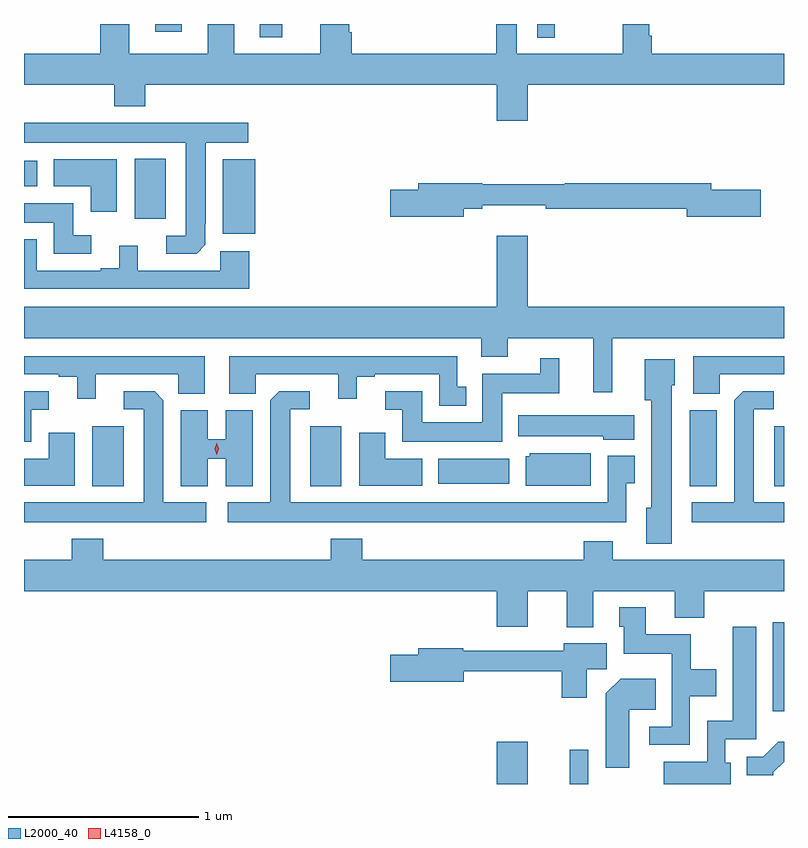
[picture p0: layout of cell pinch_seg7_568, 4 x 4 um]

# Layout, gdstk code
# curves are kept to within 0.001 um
import gdstk
lib = gdstk.Library(unit=1e-6, precision=1e-09)
def R(c, l, rs):  # rectangles x0, y0, x1, y1
    for r in rs: c.add(gdstk.rectangle(r[:2], r[2:], *l))
def P(c, l, *ps):  # polygons
    for p in ps: c.add(gdstk.Polygon(p, *l))
L2000_40 = (2000, 40)
L4158_0 = (4158, 0)

pinch_seg7_568 = lib.new_cell('pinch_seg7_568')
R(pinch_seg7_568, L2000_40, [(212.96,1044.889,213.124,1045.111), (213.346,1044.889,213.444,1045.069), (214.415,1045.272,214.473,1045.741), (210.833,1046.456,210.997,1046.773), (211.979,1046.456,212.143,1046.773), (213.977,1046.456,214.12,1046.857), (214.421,1046.456,214.473,1046.773), (212.654,1046.468,213.028,1046.602), (211.52,1047.785,211.691,1048.177), (211.055,1047.864,211.219,1048.18), (210.473,1048.034,210.544,1048.168), (213.174,1048.817,213.267,1048.889), (211.715,1048.818,211.831,1048.889), (211.163,1048.848,211.303,1048.889)])
P(pinch_seg7_568, L2000_40, [(213.124,1048.568),(214.473,1048.568),(214.473,1048.732),(213.776,1048.732),(213.776,1048.828),(213.763,1048.828),(213.763,1048.889),(213.623,1048.889),(213.623,1048.732),(213.066,1048.732),(213.066,1048.889),(212.958,1048.889),(212.958,1048.732),(212.198,1048.732),(212.198,1048.845),(212.185,1048.845),(212.185,1048.889),(212.033,1048.889),(212.033,1048.732),(211.579,1048.732),(211.579,1048.889),(211.439,1048.889),(211.439,1048.732),(211.027,1048.732),(211.027,1048.889),(210.875,1048.889),(210.875,1048.732),(210.473,1048.732),(210.473,1048.568),(210.947,1048.568),(210.947,1048.457),(211.112,1048.457),(211.112,1048.568),(212.96,1048.568),(212.96,1048.38),(213.124,1048.38)],
  [(211.428,1047.727),(211.429,1048.265),(211.654,1048.265),(211.654,1048.369),(210.473,1048.369),(210.473,1048.265),(211.325,1048.265),(211.325,1047.774),(211.221,1047.774),(211.221,1047.681),(211.382,1047.681)],
  [(210.961,1048.177),(210.629,1048.177),(210.629,1048.034),(210.824,1048.034),(210.824,1047.9),(210.961,1047.9)],
  [(212.788,1047.916),(212.884,1047.916),(212.884,1047.935),(213.22,1047.935),(213.22,1047.916),(213.962,1047.916),(213.962,1047.874),(214.351,1047.874),(214.351,1048.016),(214.09,1048.016),(214.09,1048.052),(213.32,1048.052),(213.32,1048.045),(212.884,1048.045),(212.884,1048.052),(212.549,1048.052),(212.549,1048.016),(212.4,1048.016),(212.4,1047.874),(212.788,1047.874)],
  [(210.826,1047.777),(210.733,1047.777),(210.733,1047.946),(210.473,1047.946),(210.473,1047.842),(210.629,1047.842),(210.629,1047.681),(210.826,1047.681)],
  [(213.568,1047.236),(214.473,1047.236),(214.473,1047.4),(213.124,1047.4),(213.124,1047.775),(212.96,1047.775),(212.96,1047.4),(210.473,1047.4),(210.473,1047.236),(212.879,1047.236),(212.879,1047.137),(213.019,1047.137),(213.019,1047.236),(213.47,1047.236),(213.47,1046.952),(213.568,1046.952)],
  [(211.658,1047.694),(211.506,1047.694),(211.506,1047.591),(211.072,1047.591),(211.072,1047.721),(210.974,1047.721),(210.974,1047.603),(210.878,1047.603),(210.878,1047.591),(210.54,1047.591),(210.54,1047.757),(210.473,1047.757),(210.473,1047.495),(211.658,1047.495)],
  [(214.134,1047.045),(214.473,1047.045),(214.473,1047.141),(213.995,1047.141),(213.995,1046.942),(214.134,1046.942)],
  [(212.8,1046.979),(212.754,1046.979),(212.754,1047.141),(211.553,1047.141),(211.553,1046.942),(211.692,1046.942),(211.692,1047.045),(212.126,1047.045),(212.126,1046.916),(212.224,1046.916),(212.224,1047.033),(212.32,1047.033),(212.32,1047.045),(212.658,1047.045),(212.658,1046.879),(212.8,1046.879)],
  [(210.85,1047.045),(211.284,1047.045),(211.284,1046.942),(211.423,1046.942),(211.423,1047.141),(210.473,1047.141),(210.473,1047.045),(210.656,1047.045),(210.656,1047.033),(210.752,1047.033),(210.752,1046.916),(210.85,1046.916)],
  [(212.989,1046.945),(213.29,1046.945),(213.29,1047.13),(213.191,1047.13),(213.191,1047.049),(212.885,1047.049),(212.885,1046.794),(212.569,1046.794),(212.569,1046.955),(212.373,1046.955),(212.373,1046.859),(212.465,1046.859),(212.465,1046.69),(212.989,1046.69)],
  [(213.883,1046.988),(213.898,1046.988),(213.898,1047.124),(213.74,1047.124),(213.74,1046.91),(213.773,1046.91),(213.773,1046.343),(213.749,1046.343),(213.749,1046.153),(213.883,1046.153)],
  [(214.473,1046.371),(214.315,1046.371),(214.315,1046.862),(214.42,1046.862),(214.42,1046.955),(214.258,1046.955),(214.212,1046.909),(214.211,1046.371),(213.987,1046.371),(213.987,1046.267),(214.473,1046.267)],
  [(211.432,1046.371),(211.207,1046.371),(211.206,1046.909),(211.16,1046.955),(210.999,1046.955),(210.999,1046.862),(211.103,1046.862),(211.103,1046.371),(210.473,1046.371),(210.473,1046.267),(211.432,1046.267)],
  [(210.511,1046.859),(210.604,1046.859),(210.604,1046.955),(210.473,1046.955),(210.473,1046.69),(210.511,1046.69)],
  [(213.643,1046.473),(213.688,1046.473),(213.688,1046.617),(213.546,1046.617),(213.546,1046.371),(211.873,1046.371),(211.873,1046.862),(211.978,1046.862),(211.978,1046.955),(211.816,1046.955),(211.77,1046.909),(211.769,1046.371),(211.545,1046.371),(211.545,1046.267),(213.643,1046.267)],
  [(211.441,1046.602),(211.535,1046.602),(211.535,1046.456),(211.678,1046.456),(211.678,1046.857),(211.535,1046.857),(211.535,1046.703),(211.441,1046.703),(211.441,1046.857),(211.298,1046.857),(211.298,1046.456),(211.441,1046.456)],
  [(213.685,1046.83),(213.074,1046.83),(213.074,1046.72),(213.522,1046.72),(213.522,1046.702),(213.685,1046.702)],
  [(210.739,1046.737),(210.602,1046.737),(210.602,1046.602),(210.473,1046.602),(210.473,1046.459),(210.739,1046.459)],
  [(212.569,1046.602),(212.374,1046.602),(212.374,1046.737),(212.237,1046.737),(212.237,1046.459),(212.569,1046.459)],
  [(213.457,1046.629),(213.135,1046.629),(213.135,1046.613),(213.113,1046.613),(213.113,1046.459),(213.457,1046.459)],
  [(213.469,1045.904),(213.899,1045.904),(213.899,1045.763),(214.052,1045.763),(214.052,1045.904),(214.473,1045.904),(214.473,1046.068),(213.571,1046.068),(213.571,1046.167),(213.419,1046.167),(213.419,1046.068),(212.252,1046.068),(212.252,1046.179),(212.087,1046.179),(212.087,1046.068),(210.89,1046.068),(210.89,1046.179),(210.725,1046.179),(210.725,1046.068),(210.473,1046.068),(210.473,1045.904),(212.96,1045.904),(212.96,1045.716),(213.124,1045.716),(213.124,1045.904),(213.329,1045.904),(213.329,1045.715),(213.469,1045.715)],
  [(213.978,1045.352),(214.117,1045.352),(214.117,1045.492),(213.981,1045.492),(213.981,1045.678),(213.745,1045.678),(213.745,1045.819),(213.605,1045.819),(213.605,1045.716),(213.629,1045.716),(213.629,1045.574),(213.882,1045.574),(213.882,1045.191),(213.765,1045.191),(213.765,1045.095),(213.978,1045.095)],
  [(214.192,1045.002),(214.164,1045.002),(214.164,1045.125),(214.327,1045.125),(214.327,1045.717),(214.202,1045.717),(214.202,1045.222),(214.068,1045.222),(214.068,1045.006),(213.84,1045.006),(213.84,1044.889),(214.192,1044.889)],
  [(213.436,1045.492),(213.541,1045.492),(213.541,1045.63),(213.314,1045.63),(213.314,1045.59),(212.784,1045.59),(212.784,1045.603),(212.549,1045.603),(212.549,1045.569),(212.4,1045.569),(212.4,1045.427),(212.788,1045.427),(212.788,1045.482),(213.302,1045.482),(213.302,1045.344),(213.436,1045.344)],
  [(213.658,1045.28),(213.797,1045.28),(213.797,1045.444),(213.614,1045.444),(213.536,1045.366),(213.536,1044.975),(213.658,1044.975)],
  [(214.416,1044.95),(214.473,1045.007),(214.473,1045.111),(214.444,1045.111),(214.365,1045.032),(214.277,1045.032),(214.277,1044.935),(214.416,1044.935)])
P(pinch_seg7_568, L4158_0, [(211.488,1046.622),(211.488,1046.622),(211.478,1046.653),(211.488,1046.683),(211.488,1046.684),(211.488,1046.683),(211.498,1046.653),(211.488,1046.622)])

lib.write_gds('pinch_seg7_568.gds')
